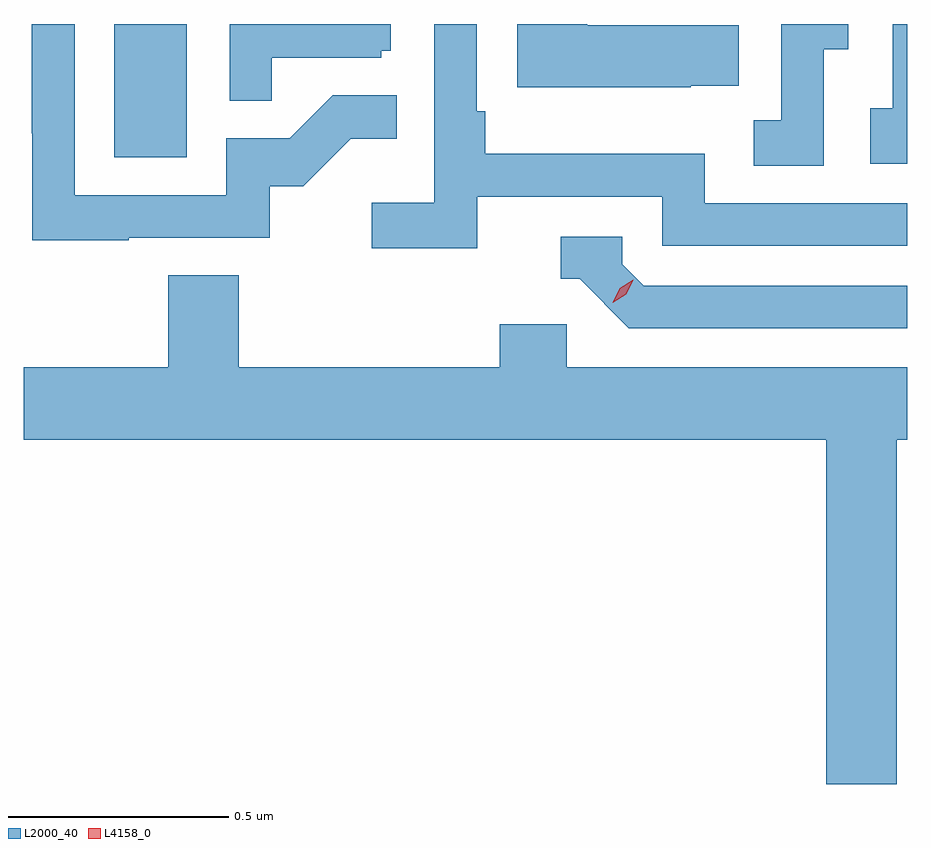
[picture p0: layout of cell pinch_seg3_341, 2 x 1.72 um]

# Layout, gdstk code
import gdstk
lib = gdstk.Library(unit=1e-6, precision=1e-09)
def R(c, l, rs):  # rectangles x0, y0, x1, y1
    for r in rs: c.add(gdstk.rectangle(r[:2], r[2:], *l))
def P(c, l, *ps):  # polygons
    for p in ps: c.add(gdstk.Polygon(p, *l))
L2000_40 = (2000, 40)
L4158_0 = (4158, 0)

pinch_seg3_341 = lib.new_cell('pinch_seg3_341')
R(pinch_seg3_341, L2000_40, [(1012.472,725.532,1012.636,725.833)])
P(pinch_seg3_341, L2000_40, [(1013.777,725.693),(1013.885,725.693),(1013.885,725.83),(1013.542,725.83),(1013.542,725.833),(1013.384,725.833),(1013.384,725.69),(1013.777,725.69)],
  [(1012.829,725.757),(1013.076,725.757),(1013.076,725.772),(1013.098,725.772),(1013.098,725.833),(1012.734,725.833),(1012.734,725.659),(1012.829,725.659)],
  [(1013.294,725.442),(1013.712,725.442),(1013.712,725.331),(1014.267,725.331),(1014.267,725.427),(1013.808,725.427),(1013.808,725.539),(1013.312,725.539),(1013.312,725.635),(1013.292,725.635),(1013.292,725.833),(1013.196,725.833),(1013.196,725.428),(1013.055,725.428),(1013.055,725.326),(1013.294,725.326)],
  [(1012.505,725.349),(1012.824,725.349),(1012.824,725.466),(1012.9,725.466),(1013.007,725.573),(1013.111,725.573),(1013.111,725.672),(1012.967,725.672),(1012.869,725.574),(1012.725,725.574),(1012.725,725.445),(1012.383,725.445),(1012.383,725.833),(1012.285,725.833),(1012.285,725.586),(1012.287,725.586),(1012.287,725.344),(1012.505,725.344)],
  [(1014.267,725.833),(1014.234,725.833),(1014.234,725.642),(1014.183,725.642),(1014.183,725.517),(1014.267,725.517)],
  [(1014.078,725.776),(1014.133,725.776),(1014.133,725.833),(1013.982,725.833),(1013.982,725.615),(1013.919,725.615),(1013.919,725.512),(1014.078,725.512)],
  [(1014.267,725.241),(1013.67,725.241),(1013.622,725.289),(1013.622,725.352),(1013.483,725.352),(1013.483,725.256),(1013.526,725.256),(1013.637,725.145),(1014.267,725.145)],
  [(1014.243,724.892),(1014.267,724.892),(1014.267,725.056),(1013.496,725.056),(1013.496,725.154),(1013.345,725.154),(1013.345,725.056),(1012.754,725.056),(1012.754,725.264),(1012.594,725.264),(1012.594,725.056),(1012.267,725.056),(1012.267,724.892),(1014.083,724.892),(1014.083,724.113),(1014.243,724.113)])
P(pinch_seg3_341, L4158_0, [(1013.6,725.202),(1013.6,725.202),(1013.616,725.235),(1013.647,725.254),(1013.647,725.254),(1013.647,725.254),(1013.631,725.221),(1013.6,725.202)])

lib.write_gds('pinch_seg3_341.gds')
